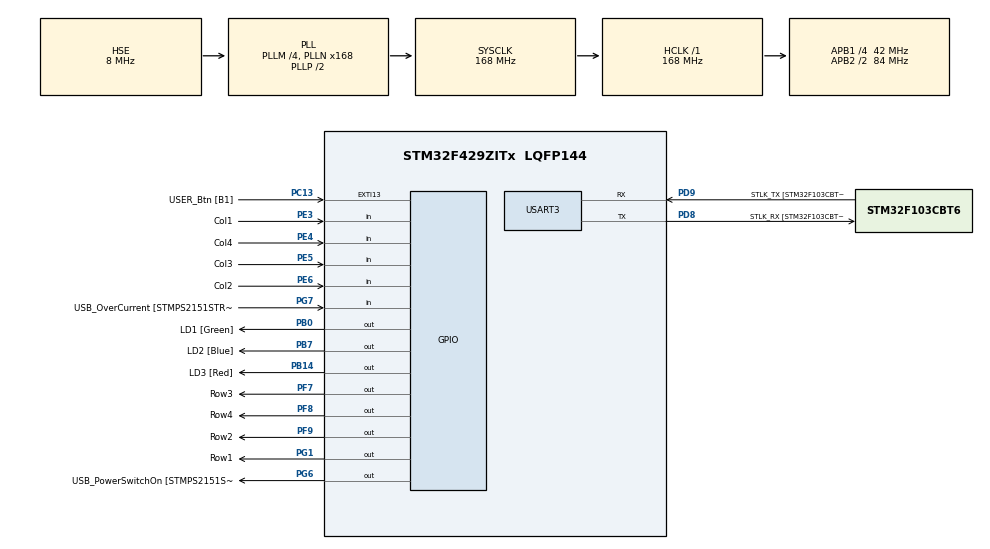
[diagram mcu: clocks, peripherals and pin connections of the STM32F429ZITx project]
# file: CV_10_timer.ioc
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Mcu.Family=STM32F4
Mcu.Name=STM32F429ZITx
Mcu.Package=LQFP144
NVIC.PriorityGroup=NVIC_PRIORITYGROUP_4
NVIC.TIM3_IRQn=true\:0\:0\:false\:false\:true\:true\:true\:true
PA1.GPIO_Label=RMII_REF_CLK [LAN8742A-CZ-TR_REFCLK0]
PA1.Signal=ETH_REF_CLK
PA10.GPIO_Label=USB_ID
PA10.Signal=USB_OTG_FS_ID
PA11.GPIO_Label=USB_DM
PA11.Signal=USB_OTG_FS_DM
PA12.GPIO_Label=USB_DP
PA12.Signal=USB_OTG_FS_DP
PA13.GPIO_Label=TMS
PA13.Mode=Serial_Wire
PA13.Signal=SYS_JTMS-SWDIO
PA14.GPIO_Label=TCK
PA14.Mode=Serial_Wire
PA14.Signal=SYS_JTCK-SWCLK
PA2.GPIO_Label=RMII_MDIO [LAN8742A-CZ-TR_MDIO]
PA2.Signal=ETH_MDIO
PA7.GPIO_Label=RMII_CRS_DV [LAN8742A-CZ-TR_CRS_DV]
PA7.Signal=ETH_CRS_DV
PA8.GPIO_Label=USB_SOF [TP1]
PA8.Signal=USB_OTG_FS_SOF
PA9.GPIO_Label=USB_VBUS
PA9.Signal=USB_OTG_FS_VBUS
PB0.GPIO_Label=LD1 [Green]
PB0.Signal=GPIO_Output
PB13.GPIO_Label=RMII_TXD1 [LAN8742A-CZ-TR_TXD1]
PB13.Signal=ETH_TXD1
PB14.GPIO_Label=LD3 [Red]
PB14.Signal=GPIO_Output
PB7.GPIO_Label=LD2 [Blue]
PB7.Signal=GPIO_Output
PC1.GPIO_Label=RMII_MDC [LAN8742A-CZ-TR_MDC]
PC1.Signal=ETH_MDC
PC13.GPIO_Label=USER_Btn [B1]
PC13.Signal=GPXTI13
PC14/OSC32_IN.Mode=LSE-External-Oscillator
PC14/OSC32_IN.Signal=RCC_OSC32_IN
PC15/OSC32_OUT.Mode=LSE-External-Oscillator
PC15/OSC32_OUT.Signal=RCC_OSC32_OUT
PC4.GPIO_Label=RMII_RXD0 [LAN8742A-CZ-TR_RXD0]
PC4.Signal=ETH_RXD0
PC5.GPIO_Label=RMII_RXD1 [LAN8742A-CZ-TR_RXD1]
PC5.Signal=ETH_RXD1
PD8.GPIO_Label=STLK_RX [STM32F103CBT6_PA3]
PD8.Mode=Asynchronous
PD8.Signal=USART3_TX
PD9.GPIO_Label=STLK_TX [STM32F103CBT6_PA2]
PD9.Mode=Asynchronous
PD9.Signal=USART3_RX
PE3.GPIO_Label=Col1
PE3.GPIO_Mode=GPIO_MODE_INPUT
PE3.GPIO_PuPd=GPIO_PULLUP
PE3.Signal=GPIO_Input
PE4.GPIO_Label=Col4
PE4.GPIO_Mode=GPIO_MODE_INPUT
PE4.GPIO_PuPd=GPIO_PULLUP
PE4.Signal=GPIO_Input
PE5.GPIO_Label=Col3
PE5.GPIO_Mode=GPIO_MODE_INPUT
PE5.GPIO_PuPd=GPIO_PULLUP
PE5.Signal=GPIO_Input
PE6.GPIO_Label=Col2
PE6.GPIO_Mode=GPIO_MODE_INPUT
PE6.GPIO_PuPd=GPIO_PULLUP
PE6.Signal=GPIO_Input
PF7.GPIO_Label=Row3
PF7.GPIO_ModeDefaultOutputPP=GPIO_MODE_OUTPUT_OD
PF7.GPIO_PuPd=GPIO_NOPULL
PF7.Signal=GPIO_Output
PF8.GPIO_Label=Row4
PF8.GPIO_ModeDefaultOutputPP=GPIO_MODE_OUTPUT_OD
PF8.GPIO_PuPd=GPIO_NOPULL
PF8.Signal=GPIO_Output
PF9.GPIO_Label=Row2
PF9.GPIO_ModeDefaultOutputPP=GPIO_MODE_OUTPUT_OD
PF9.GPIO_PuPd=GPIO_NOPULL
PF9.Signal=GPIO_Output
PG1.GPIO_Label=Row1
PG1.GPIO_ModeDefaultOutputPP=GPIO_MODE_OUTPUT_OD
PG1.GPIO_PuPd=GPIO_NOPULL
PG1.Signal=GPIO_Output
PG11.GPIO_Label=RMII_TX_EN [LAN8742A-CZ-TR_TXEN]
PG11.Signal=ETH_TX_EN
PG13.GPIO_Label=RMII_TXD0 [LAN8742A-CZ-TR_TXD0]
PG13.Signal=ETH_TXD0
PG6.GPIO_Label=USB_PowerSwitchOn [STMPS2151STR_EN]
PG6.Signal=GPIO_Output
PG7.GPIO_Label=USB_OverCurrent [STMPS2151STR_FAULT]
PG7.Signal=GPIO_Input
PH0/OSC_IN.GPIO_Label=MCO [STM32F103CBT6_PA8]
PH0/OSC_IN.Mode=HSE-External-Clock-Source
PH0/OSC_IN.Signal=RCC_OSC_IN
PH1/OSC_OUT.Mode=HSE-External-Clock-Source
PH1/OSC_OUT.Signal=RCC_OSC_OUT
ProjectManager.HeapSize=0x200
ProjectManager.StackSize=0x400
ProjectManager.TargetToolchain=STM32CubeIDE
RCC.48MHZClocksFreq_Value=48000000
RCC.AHBFreq_Value=168000000
RCC.APB1CLKDivider=RCC_HCLK_DIV4
RCC.APB1Freq_Value=42000000
RCC.APB1TimFreq_Value=84000000
RCC.APB2CLKDivider=RCC_HCLK_DIV2
RCC.APB2Freq_Value=84000000
RCC.APB2TimCLKDivider=2
RCC.APB2TimFreq_Value=168000000
RCC.CortexFreq_Value=168000000
RCC.HCLKFreq_Value=168000000
RCC.HSE_VALUE=8000000
RCC.HSI_VALUE=16000000
RCC.PLLM=4
RCC.PLLMUL=RCC_PLL_MUL9
RCC.PLLN=168
RCC.PLLQ=7
RCC.PLLSourceVirtual=RCC_PLLSOURCE_HSE
RCC.PRESCALERUSB=RCC_USBCLKSOURCE_PLL_DIV1_5
RCC.SYSCLKFreq_VALUE=168000000
RCC.SYSCLKSource=RCC_SYSCLKSOURCE_PLLCLK
RCC.SYSCLKSourceVirtual=RCC_SYSCLKSOURCE_PLLCLK
RCC.USBFreq_Value=48000000
RCC.VCOOutputFreq_Value=336000000
TIM3.Period=99
TIM3.Prescaler=8399
USART3.VirtualMode=VM_ASYNC
VP_TIM3_VS_ClockSourceINT.Mode=Internal
board=NUCLEO-F429ZI

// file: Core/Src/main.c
/* USER CODE BEGIN Header */
/**
  ******************************************************************************
  * @file           : main.c
  * @brief          : Main program body
  ******************************************************************************
  * @attention
  *
  * Copyright (c) 2023 STMicroelectronics.
  * All rights reserved.
  *
  * This software is licensed under terms that can be found in the LICENSE file
  * in the root directory of this software component.
  * If no LICENSE file comes with this software, it is provided AS-IS.
  *
  ******************************************************************************
  */
/* USER CODE END Header */
#include "main.h"

/* USER CODE BEGIN Includes */
#include <stdio.h>
//#include <syscalls.h>
/* USER CODE END Includes */

/* USER CODE BEGIN PD */
#define PASS_TIMEOUT	(5000)

/* USER CODE END PD */

TIM_HandleTypeDef htim3;

UART_HandleTypeDef huart3;

/* USER CODE BEGIN PV */
static volatile int8_t key = -1;
static int lastTime = 0;
/* USER CODE END PV */

void SystemClock_Config(void);
static void MX_GPIO_Init(void);
static void MX_USART3_UART_Init(void);
static void MX_TIM3_Init(void);

/* USER CODE BEGIN 0 */
int __io_putchar(int ch)
{
	ITM_SendChar(ch);
	return 0;
}

uint8_t detect_password(uint8_t *i)
{
	uint8_t password[5] = {7, 9, 3, 2, 12};
	if (key == password[*i]) {
		if (key == 12 && *i == 4) {
			*i = 0;
			return 1;
		}
		(*i)++;
	} else {
		*i = 0;
		if (key == 12)
			printf("Wrong password!\n");
	}
	return 0;
}

/* USER CODE END 0 */

int main(void)
{

  /* MCU Configuration--------------------------------------------------------*/

  /* Reset of all peripherals, Initializes the Flash interface and the Systick. */
  HAL_Init();

  /* Configure the system clock */
  SystemClock_Config();

  /* Initialize all configured peripherals */
  MX_GPIO_Init();
  MX_USART3_UART_Init();
  MX_TIM3_Init();
  /* USER CODE BEGIN 2 */
  HAL_TIM_Base_Start_IT(&htim3);
  printf(" Start!\n");
  lastTime = HAL_GetTick();
  /* USER CODE END 2 */

  /* Infinite loop */
  /* USER CODE BEGIN WHILE */
  uint8_t i = 0, password_status = 0, timer_on = 0;
  while (1)
  {
	  HAL_GPIO_TogglePin(LD1_GPIO_Port, LD1_Pin);

	  if (timer_on && ((lastTime + PASS_TIMEOUT) <= HAL_GetTick())){
	  	i = 0;
	  	printf("Timeout!\n");
	  	timer_on = 0;
	  	continue;
	  }

	  if (key != -1) {
		timer_on = 1;

		switch (key)
		{
			case 11: printf("Key: *\n"); break;
			case 12: printf("Key: #\n"); break;
			case 21: printf("Key: A\n"); break;
			case 22: printf("Key: B\n"); break;
			case 23: printf("Key: C\n"); break;
			case 24: printf("Key: D\n"); break;
			default: printf("Key: %d\n", key); break;
		}

		HAL_GPIO_WritePin(LD2_GPIO_Port, LD2_Pin, GPIO_PIN_RESET);

        password_status = detect_password(&i);
	    if (password_status) {
		    printf("Password OK!\n");
		    timer_on = 0;
		    password_status = 0;
			HAL_GPIO_WritePin(LD2_GPIO_Port, LD2_Pin, GPIO_PIN_SET);
	    }

		HAL_Delay(250);
		lastTime = HAL_GetTick();
		key = -1;
	  }
    /* USER CODE END WHILE */

  }
}

void SystemClock_Config(void)
{
  RCC_OscInitTypeDef RCC_OscInitStruct = {0};
  RCC_ClkInitTypeDef RCC_ClkInitStruct = {0};

  /** Configure the main internal regulator output voltage
  */
  __HAL_RCC_PWR_CLK_ENABLE();
  __HAL_PWR_VOLTAGESCALING_CONFIG(PWR_REGULATOR_VOLTAGE_SCALE1);

  /** Initializes the RCC Oscillators according to the specified parameters
  * in the RCC_OscInitTypeDef structure.
  */
  RCC_OscInitStruct.OscillatorType = RCC_OSCILLATORTYPE_HSE;
  RCC_OscInitStruct.HSEState = RCC_HSE_BYPASS;
  RCC_OscInitStruct.PLL.PLLState = RCC_PLL_ON;
  RCC_OscInitStruct.PLL.PLLSource = RCC_PLLSOURCE_HSE;
  RCC_OscInitStruct.PLL.PLLM = 4;
  RCC_OscInitStruct.PLL.PLLN = 168;
  RCC_OscInitStruct.PLL.PLLP = RCC_PLLP_DIV2;
  RCC_OscInitStruct.PLL.PLLQ = 7;
  if (HAL_RCC_OscConfig(&RCC_OscInitStruct) != HAL_OK)
  {
    Error_Handler();
  }

  /** Initializes the CPU, AHB and APB buses clocks
  */
  RCC_ClkInitStruct.ClockType = RCC_CLOCKTYPE_HCLK|RCC_CLOCKTYPE_SYSCLK
                              |RCC_CLOCKTYPE_PCLK1|RCC_CLOCKTYPE_PCLK2;
  RCC_ClkInitStruct.SYSCLKSource = RCC_SYSCLKSOURCE_PLLCLK;
  RCC_ClkInitStruct.AHBCLKDivider = RCC_SYSCLK_DIV1;
  RCC_ClkInitStruct.APB1CLKDivider = RCC_HCLK_DIV4;
  RCC_ClkInitStruct.APB2CLKDivider = RCC_HCLK_DIV2;

  if (HAL_RCC_ClockConfig(&RCC_ClkInitStruct, FLASH_LATENCY_5) != HAL_OK)
  {
    Error_Handler();
  }
}

static void MX_TIM3_Init(void)
{

  TIM_ClockConfigTypeDef sClockSourceConfig = {0};
  TIM_MasterConfigTypeDef sMasterConfig = {0};

  htim3.Instance = TIM3;
  htim3.Init.Prescaler = 8399;
  htim3.Init.CounterMode = TIM_COUNTERMODE_UP;
  htim3.Init.Period = 99;
  htim3.Init.ClockDivision = TIM_CLOCKDIVISION_DIV1;
  htim3.Init.AutoReloadPreload = TIM_AUTORELOAD_PRELOAD_DISABLE;
  if (HAL_TIM_Base_Init(&htim3) != HAL_OK)
  {
    Error_Handler();
  }
  sClockSourceConfig.ClockSource = TIM_CLOCKSOURCE_INTERNAL;
  if (HAL_TIM_ConfigClockSource(&htim3, &sClockSourceConfig) != HAL_OK)
  {
    Error_Handler();
  }
  sMasterConfig.MasterOutputTrigger = TIM_TRGO_RESET;
  sMasterConfig.MasterSlaveMode = TIM_MASTERSLAVEMODE_DISABLE;
  if (HAL_TIMEx_MasterConfigSynchronization(&htim3, &sMasterConfig) != HAL_OK)
  {
    Error_Handler();
  }

}

static void MX_USART3_UART_Init(void)
{

  huart3.Instance = USART3;
  huart3.Init.BaudRate = 115200;
  huart3.Init.WordLength = UART_WORDLENGTH_8B;
  huart3.Init.StopBits = UART_STOPBITS_1;
  huart3.Init.Parity = UART_PARITY_NONE;
  huart3.Init.Mode = UART_MODE_TX_RX;
  huart3.Init.HwFlowCtl = UART_HWCONTROL_NONE;
  huart3.Init.OverSampling = UART_OVERSAMPLING_16;
  if (HAL_UART_Init(&huart3) != HAL_OK)
  {
    Error_Handler();
  }

}

static void MX_GPIO_Init(void)
{
  GPIO_InitTypeDef GPIO_InitStruct = {0};

  /* GPIO Ports Clock Enable */
  __HAL_RCC_GPIOE_CLK_ENABLE();
  __HAL_RCC_GPIOC_CLK_ENABLE();
  __HAL_RCC_GPIOF_CLK_ENABLE();
  __HAL_RCC_GPIOH_CLK_ENABLE();
  __HAL_RCC_GPIOA_CLK_ENABLE();
  __HAL_RCC_GPIOB_CLK_ENABLE();
  __HAL_RCC_GPIOG_CLK_ENABLE();
  __HAL_RCC_GPIOD_CLK_ENABLE();

  /*Configure GPIO pin Output Level */
  HAL_GPIO_WritePin(GPIOF, Row3_Pin|Row4_Pin|Row2_Pin, GPIO_PIN_RESET);

  /*Configure GPIO pin Output Level */
  HAL_GPIO_WritePin(GPIOB, LD1_Pin|LD3_Pin|LD2_Pin, GPIO_PIN_RESET);

  /*Configure GPIO pin Output Level */
  HAL_GPIO_WritePin(GPIOG, Row1_Pin|USB_PowerSwitchOn_Pin, GPIO_PIN_RESET);

  /*Configure GPIO pins : Col1_Pin Col4_Pin Col3_Pin Col2_Pin */
  GPIO_InitStruct.Pin = Col1_Pin|Col4_Pin|Col3_Pin|Col2_Pin;
  GPIO_InitStruct.Mode = GPIO_MODE_INPUT;
  GPIO_InitStruct.Pull = GPIO_PULLUP;
  HAL_GPIO_Init(GPIOE, &GPIO_InitStruct);

  /*Configure GPIO pin : USER_Btn_Pin */
  GPIO_InitStruct.Pin = USER_Btn_Pin;
  GPIO_InitStruct.Mode = GPIO_MODE_IT_RISING;
  GPIO_InitStruct.Pull = GPIO_NOPULL;
  HAL_GPIO_Init(USER_Btn_GPIO_Port, &GPIO_InitStruct);

  /*Configure GPIO pins : Row3_Pin Row4_Pin Row2_Pin */
  GPIO_InitStruct.Pin = Row3_Pin|Row4_Pin|Row2_Pin;
  GPIO_InitStruct.Mode = GPIO_MODE_OUTPUT_OD;
  GPIO_InitStruct.Pull = GPIO_NOPULL;
  GPIO_InitStruct.Speed = GPIO_SPEED_FREQ_LOW;
  HAL_GPIO_Init(GPIOF, &GPIO_InitStruct);

  /*Configure GPIO pins : RMII_MDC_Pin RMII_RXD0_Pin RMII_RXD1_Pin */
  GPIO_InitStruct.Pin = RMII_MDC_Pin|RMII_RXD0_Pin|RMII_RXD1_Pin;
  GPIO_InitStruct.Mode = GPIO_MODE_AF_PP;
  GPIO_InitStruct.Pull = GPIO_NOPULL;
  GPIO_InitStruct.Speed = GPIO_SPEED_FREQ_VERY_HIGH;
  GPIO_InitStruct.Alternate = GPIO_AF11_ETH;
  HAL_GPIO_Init(GPIOC, &GPIO_InitStruct);

  /*Configure GPIO pins : RMII_REF_CLK_Pin RMII_MDIO_Pin RMII_CRS_DV_Pin */
  GPIO_InitStruct.Pin = RMII_REF_CLK_Pin|RMII_MDIO_Pin|RMII_CRS_DV_Pin;
  GPIO_InitStruct.Mode = GPIO_MODE_AF_PP;
  GPIO_InitStruct.Pull = GPIO_NOPULL;
  GPIO_InitStruct.Speed = GPIO_SPEED_FREQ_VERY_HIGH;
  GPIO_InitStruct.Alternate = GPIO_AF11_ETH;
  HAL_GPIO_Init(GPIOA, &GPIO_InitStruct);

  /*Configure GPIO pins : LD1_Pin LD3_Pin LD2_Pin */
  GPIO_InitStruct.Pin = LD1_Pin|LD3_Pin|LD2_Pin;
  GPIO_InitStruct.Mode = GPIO_MODE_OUTPUT_PP;
  GPIO_InitStruct.Pull = GPIO_NOPULL;
  GPIO_InitStruct.Speed = GPIO_SPEED_FREQ_LOW;
  HAL_GPIO_Init(GPIOB, &GPIO_InitStruct);

  /*Configure GPIO pin : Row1_Pin */
  GPIO_InitStruct.Pin = Row1_Pin;
  GPIO_InitStruct.Mode = GPIO_MODE_OUTPUT_OD;
  GPIO_InitStruct.Pull = GPIO_NOPULL;
  GPIO_InitStruct.Speed = GPIO_SPEED_FREQ_LOW;
  HAL_GPIO_Init(Row1_GPIO_Port, &GPIO_InitStruct);

  /*Configure GPIO pin : RMII_TXD1_Pin */
  GPIO_InitStruct.Pin = RMII_TXD1_Pin;
  GPIO_InitStruct.Mode = GPIO_MODE_AF_PP;
  GPIO_InitStruct.Pull = GPIO_NOPULL;
  GPIO_InitStruct.Speed = GPIO_SPEED_FREQ_VERY_HIGH;
  GPIO_InitStruct.Alternate = GPIO_AF11_ETH;
  HAL_GPIO_Init(RMII_TXD1_GPIO_Port, &GPIO_InitStruct);

  /*Configure GPIO pin : USB_PowerSwitchOn_Pin */
  GPIO_InitStruct.Pin = USB_PowerSwitchOn_Pin;
  GPIO_InitStruct.Mode = GPIO_MODE_OUTPUT_PP;
  GPIO_InitStruct.Pull = GPIO_NOPULL;
  GPIO_InitStruct.Speed = GPIO_SPEED_FREQ_LOW;
  HAL_GPIO_Init(USB_PowerSwitchOn_GPIO_Port, &GPIO_InitStruct);

  /*Configure GPIO pin : USB_OverCurrent_Pin */
  GPIO_InitStruct.Pin = USB_OverCurrent_Pin;
  GPIO_InitStruct.Mode = GPIO_MODE_INPUT;
  GPIO_InitStruct.Pull = GPIO_NOPULL;
  HAL_GPIO_Init(USB_OverCurrent_GPIO_Port, &GPIO_InitStruct);

  /*Configure GPIO pins : USB_SOF_Pin USB_ID_Pin USB_DM_Pin USB_DP_Pin */
  GPIO_InitStruct.Pin = USB_SOF_Pin|USB_ID_Pin|USB_DM_Pin|USB_DP_Pin;
  GPIO_InitStruct.Mode = GPIO_MODE_AF_PP;
  GPIO_InitStruct.Pull = GPIO_NOPULL;
  GPIO_InitStruct.Speed = GPIO_SPEED_FREQ_VERY_HIGH;
  GPIO_InitStruct.Alternate = GPIO_AF10_OTG_FS;
  HAL_GPIO_Init(GPIOA, &GPIO_InitStruct);

  /*Configure GPIO pin : USB_VBUS_Pin */
  GPIO_InitStruct.Pin = USB_VBUS_Pin;
  GPIO_InitStruct.Mode = GPIO_MODE_INPUT;
  GPIO_InitStruct.Pull = GPIO_NOPULL;
  HAL_GPIO_Init(USB_VBUS_GPIO_Port, &GPIO_InitStruct);

  /*Configure GPIO pins : RMII_TX_EN_Pin RMII_TXD0_Pin */
  GPIO_InitStruct.Pin = RMII_TX_EN_Pin|RMII_TXD0_Pin;
  GPIO_InitStruct.Mode = GPIO_MODE_AF_PP;
  GPIO_InitStruct.Pull = GPIO_NOPULL;
  GPIO_InitStruct.Speed = GPIO_SPEED_FREQ_VERY_HIGH;
  GPIO_InitStruct.Alternate = GPIO_AF11_ETH;
  HAL_GPIO_Init(GPIOG, &GPIO_InitStruct);

}

/* USER CODE BEGIN 4 */
void HAL_TIM_PeriodElapsedCallback(TIM_HandleTypeDef *htim)
{
	static uint8_t row = 0;
	static const uint8_t keyboard[4][4] = {
		{ 1, 2, 3, 21 },
		{ 4, 5, 6, 22 },
		{ 7, 8, 9, 23 },
		{ 11, 0, 12, 24 },
	};

	if (key == -1) {
		if (HAL_GPIO_ReadPin(Col1_GPIO_Port, Col1_Pin) == GPIO_PIN_RESET) key = keyboard[row][0];
		if (HAL_GPIO_ReadPin(Col2_GPIO_Port, Col2_Pin) == GPIO_PIN_RESET) key = keyboard[row][1];
		if (HAL_GPIO_ReadPin(Col3_GPIO_Port, Col3_Pin) == GPIO_PIN_RESET) key = keyboard[row][2];
		if (HAL_GPIO_ReadPin(Col4_GPIO_Port, Col4_Pin) == GPIO_PIN_RESET) key = keyboard[row][3];
	}

	HAL_GPIO_WritePin(Row1_GPIO_Port, Row1_Pin, GPIO_PIN_SET);
	HAL_GPIO_WritePin(Row2_GPIO_Port, Row2_Pin, GPIO_PIN_SET);
	HAL_GPIO_WritePin(Row3_GPIO_Port, Row3_Pin, GPIO_PIN_SET);
	HAL_GPIO_WritePin(Row4_GPIO_Port, Row4_Pin, GPIO_PIN_SET);

	switch (row) {
		case 0: row = 1; HAL_GPIO_WritePin(Row2_GPIO_Port, Row2_Pin, GPIO_PIN_RESET); break;
		case 1: row = 2; HAL_GPIO_WritePin(Row3_GPIO_Port, Row3_Pin, GPIO_PIN_RESET); break;
		case 2: row = 3; HAL_GPIO_WritePin(Row4_GPIO_Port, Row4_Pin, GPIO_PIN_RESET); break;
		case 3: row = 0; HAL_GPIO_WritePin(Row1_GPIO_Port, Row1_Pin, GPIO_PIN_RESET); break;
	}

}
/* USER CODE END 4 */

void Error_Handler(void)
{
  __disable_irq();
  while (1)
  {
  }
}
